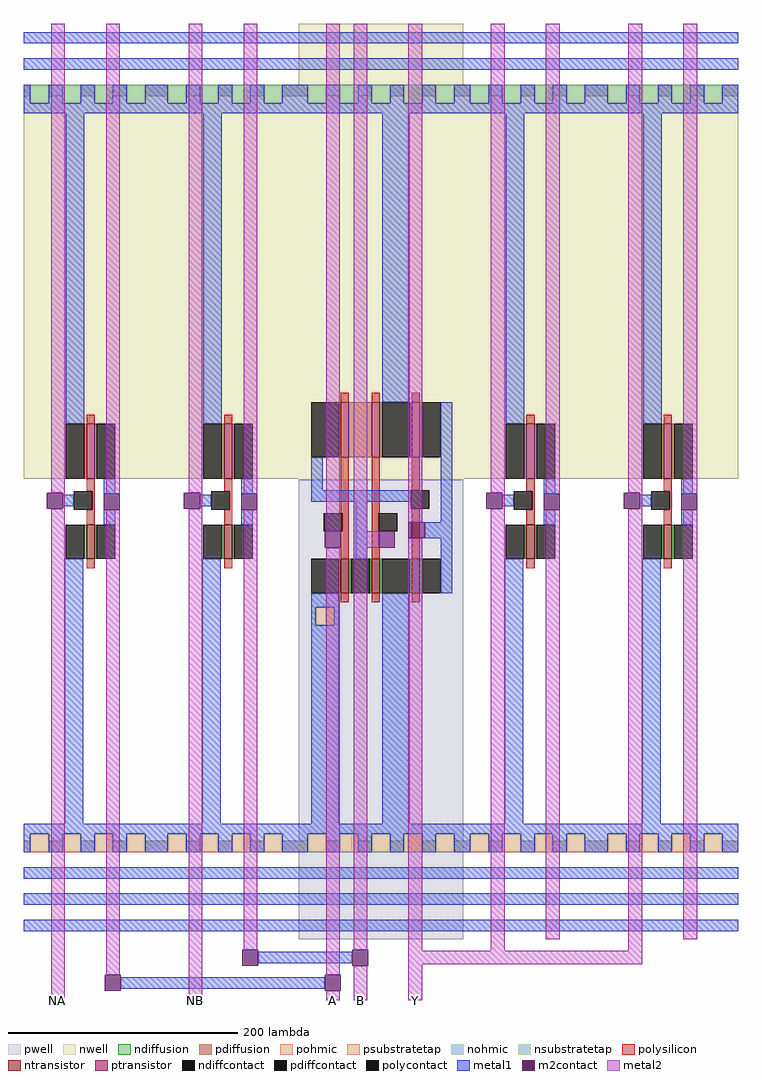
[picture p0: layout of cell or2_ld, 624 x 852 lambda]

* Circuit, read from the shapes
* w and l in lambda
.subckt or2_ld A B GND! NA NB Vdd! Y
M1 A NA GND! VSUBS nfet w=30 l=7
M2 B NB GND! VSUBS nfet w=30 l=7
M3 n1 A GND! VSUBS nfet w=30 l=7
M4 GND! B n1 VSUBS nfet w=30 l=7
M5 Y n1 GND! VSUBS nfet w=30 l=7
M6 inv_0/Y Y GND! VSUBS nfet w=30 l=7
M7 inv_1/Y Y GND! VSUBS nfet w=30 l=7
M8 A NA Vdd! n2 pfet w=48 l=7
M9 B NB Vdd! n2 pfet w=48 l=7
M10 n3 A n1 n2 pfet w=48 l=7
M11 Vdd! B n3 n2 pfet w=48 l=7
M12 Y n1 Vdd! n2 pfet w=48 l=7
M13 inv_0/Y Y Vdd! n2 pfet w=48 l=7
M14 inv_1/Y Y Vdd! n2 pfet w=48 l=7
.ends

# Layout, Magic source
magic
tech c035u
<< metal1 >>
rect 205 32 287 42
rect 85 10 263 20
<< m2contact >>
rect 191 30 205 44
rect 287 30 301 44
rect 71 8 85 22
rect 263 8 277 22
<< metal2 >>
rect 24 0 36 53
rect 72 22 84 53
rect 144 0 156 53
rect 192 44 204 53
rect 264 22 276 53
rect 288 44 300 53
rect 336 43 348 53
rect 408 43 420 53
rect 528 43 540 53
rect 336 31 540 43
rect 264 0 276 8
rect 288 0 300 30
rect 336 0 348 31
use inv inv_3
transform 1 0 0 0 1 53
box 0 0 120 799
use inv inv_2
transform 1 0 120 0 1 53
box 0 0 120 799
use or2 or2_0
transform 1 0 240 0 1 53
box 0 0 144 799
use inv inv_0
transform 1 0 384 0 1 53
box 0 0 120 799
use inv inv_1
transform 1 0 504 0 1 53
box 0 0 120 799
<< labels >>
rlabel metal2 144 0 156 0 1 NB
rlabel metal2 24 0 36 0 1 NA
rlabel metal2 264 0 276 0 1 A
rlabel metal2 288 0 300 0 1 B
rlabel metal2 336 0 348 0 1 Y
<< end >>

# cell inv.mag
magic
tech c035u
<< nwell >>
rect 0 402 120 746
<< polysilicon >>
rect 55 450 62 458
rect 55 391 62 402
rect 60 375 62 391
rect 55 362 62 375
rect 55 324 62 332
<< ndiffusion >>
rect 53 332 55 362
rect 62 332 64 362
<< pdiffusion >>
rect 53 402 55 450
rect 62 402 64 450
<< pohmic >>
rect 0 76 6 86
rect 22 76 34 86
rect 50 76 62 86
rect 78 76 90 86
rect 106 76 120 86
<< nohmic >>
rect 0 736 6 746
rect 22 736 34 746
rect 50 736 62 746
rect 78 736 90 746
rect 106 736 120 746
<< ntransistor >>
rect 55 332 62 362
<< ptransistor >>
rect 55 402 62 450
<< polycontact >>
rect 44 375 60 391
<< ndiffcontact >>
rect 37 332 53 362
rect 64 332 80 362
<< pdiffcontact >>
rect 37 402 53 450
rect 64 402 80 450
<< psubstratetap >>
rect 6 76 22 92
rect 34 76 50 92
rect 62 76 78 92
rect 90 76 106 92
<< nsubstratetap >>
rect 6 730 22 746
rect 34 730 50 746
rect 62 730 78 746
rect 90 730 106 746
<< metal1 >>
rect 0 782 120 792
rect 0 759 120 769
rect 0 730 6 746
rect 22 730 34 746
rect 50 730 62 746
rect 78 730 90 746
rect 106 730 120 746
rect 0 721 120 730
rect 37 450 53 721
rect 34 378 44 388
rect 70 389 80 402
rect 70 362 80 375
rect 36 101 52 332
rect 0 92 120 101
rect 0 76 6 92
rect 22 76 34 92
rect 50 76 62 92
rect 78 76 90 92
rect 106 76 120 92
rect 0 53 120 63
rect 0 30 120 40
rect 0 7 120 17
<< m2contact >>
rect 20 376 34 390
rect 70 375 84 389
<< metal2 >>
rect 24 390 36 799
rect 34 376 36 390
rect 72 389 84 799
rect 24 0 36 376
rect 72 0 84 375
<< labels >>
rlabel metal1 0 721 0 746 7 Vdd!
rlabel metal1 0 759 0 769 7 Scan
rlabel metal1 0 782 0 792 6 ScanReturn
rlabel metal1 120 721 120 746 7 Vdd!
rlabel metal1 120 759 120 769 7 Scan
rlabel metal1 120 782 120 792 6 ScanReturn
rlabel metal2 24 799 36 799 5 A
rlabel metal2 72 799 84 799 5 Y
rlabel metal1 0 76 0 101 7 GND!
rlabel metal1 0 53 0 63 7 Clock
rlabel metal1 0 30 0 40 7 Test
rlabel metal1 0 7 0 17 8 nReset
rlabel metal1 120 7 120 17 8 nReset
rlabel metal1 120 30 120 40 7 Test
rlabel metal1 120 53 120 63 7 Clock
rlabel metal1 120 76 120 101 7 GND!
rlabel metal2 24 0 36 0 1 A
rlabel metal2 72 0 84 0 1 Y
<< end >>

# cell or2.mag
magic
tech c035u
<< nwell >>
rect 0 401 144 799
<< pwell >>
rect 0 0 144 401
<< polysilicon >>
rect 37 469 44 477
rect 64 469 71 477
rect 99 469 106 477
rect 37 372 44 421
rect 38 356 44 372
rect 37 332 44 356
rect 64 372 71 421
rect 99 392 106 421
rect 64 356 70 372
rect 64 332 71 356
rect 99 332 106 376
rect 37 294 44 302
rect 64 294 71 302
rect 99 294 106 302
<< ndiffusion >>
rect 35 302 37 332
rect 44 302 46 332
rect 62 302 64 332
rect 71 302 73 332
rect 97 302 99 332
rect 106 302 108 332
<< pdiffusion >>
rect 35 421 37 469
rect 44 421 64 469
rect 71 421 73 469
rect 97 421 99 469
rect 106 421 108 469
<< pohmic >>
rect 0 76 8 86
rect 24 76 36 86
rect 52 76 64 86
rect 80 76 92 86
rect 108 76 120 86
rect 136 76 144 86
<< nohmic >>
rect 0 736 8 746
rect 24 736 36 746
rect 52 736 64 746
rect 80 736 92 746
rect 108 736 120 746
rect 136 736 144 746
<< ntransistor >>
rect 37 302 44 332
rect 64 302 71 332
rect 99 302 106 332
<< ptransistor >>
rect 37 421 44 469
rect 64 421 71 469
rect 99 421 106 469
<< polycontact >>
rect 22 356 38 372
rect 98 376 114 392
rect 70 356 86 372
<< ndiffcontact >>
rect 11 302 35 332
rect 46 302 62 332
rect 73 302 97 332
rect 108 302 124 332
<< pdiffcontact >>
rect 11 421 35 469
rect 73 421 97 469
rect 108 421 124 469
<< psubstratetap >>
rect 15 274 31 290
rect 8 76 24 92
rect 36 76 52 92
rect 64 76 80 92
rect 92 76 108 92
rect 120 76 136 92
<< nsubstratetap >>
rect 8 730 24 746
rect 36 730 52 746
rect 64 730 80 746
rect 92 730 108 746
rect 120 730 136 746
<< metal1 >>
rect 0 782 144 792
rect 0 759 144 769
rect 0 730 8 746
rect 24 730 36 746
rect 52 730 64 746
rect 80 730 92 746
rect 108 730 120 746
rect 136 730 144 746
rect 0 721 144 730
rect 73 469 97 721
rect 11 392 21 421
rect 11 382 98 392
rect 50 332 60 382
rect 124 364 134 469
rect 110 350 134 364
rect 124 302 134 350
rect 11 290 35 302
rect 11 274 15 290
rect 31 274 35 290
rect 11 101 35 274
rect 73 101 97 302
rect 0 92 144 101
rect 0 76 8 92
rect 24 76 36 92
rect 52 76 64 92
rect 80 76 92 92
rect 108 76 120 92
rect 136 76 144 92
rect 0 53 144 63
rect 0 30 144 40
rect 0 7 144 17
<< m2contact >>
rect 23 342 37 356
rect 70 342 84 356
rect 96 350 110 364
<< metal2 >>
rect 24 356 36 799
rect 48 356 60 799
rect 96 364 108 799
rect 48 342 70 356
rect 24 0 36 342
rect 48 0 60 342
rect 96 0 108 350
<< labels >>
rlabel metal1 0 7 0 17 3 nReset
rlabel metal1 0 30 0 40 3 Test
rlabel metal1 0 53 0 63 3 Clock
rlabel metal1 0 76 0 101 3 GND!
rlabel metal1 144 76 144 101 7 GND!
rlabel metal1 144 53 144 63 7 Clock
rlabel metal1 144 30 144 40 7 Test
rlabel metal1 144 7 144 17 7 nReset
rlabel metal2 24 0 36 0 1 A
rlabel metal2 48 0 60 0 1 B
rlabel metal2 96 0 108 0 1 Y
rlabel metal1 0 721 0 746 3 Vdd!
rlabel metal1 0 782 0 792 3 ScanReturn
rlabel metal1 0 759 0 769 3 Scan
rlabel metal1 144 721 144 746 1 Vdd!
rlabel metal1 144 759 144 769 1 Scan
rlabel metal1 144 782 144 792 1 ScanReturn
rlabel metal2 24 799 36 799 5 A
rlabel metal2 48 799 60 799 5 B
rlabel metal2 96 799 108 799 5 Y
<< end >>
